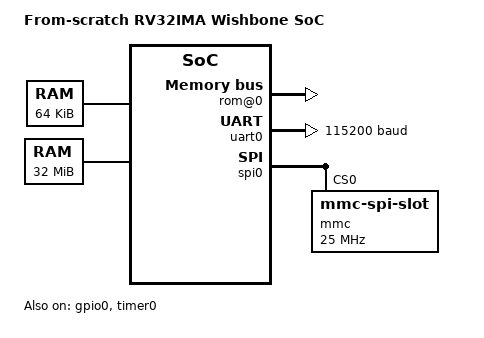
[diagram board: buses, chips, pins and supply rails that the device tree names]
/dts-v1/;

/*
 * Device tree for the SoC in rtl/soc/soc_top.v.
 *
 * Build it with `make dtb`, which compiles it and then round-trips the
 * result back to source to confirm it decodes.
 *
 * What this is and isn't: it is an accurate description of the hardware in
 * the standard format that RISC-V firmware (OpenSBI, U-Boot, Linux) expects
 * to be handed. It compiles to dts/soc.dtb, which software/opensbi/mkimage.py
 * packs into every image `make sim_opensbi`/`sim_linux` boot and OpenSBI
 * genuinely parses at runtime - this stopped being aspirational once that
 * integration landed (docs/roadmap.md's OpenSBI phase). The boot ROM and
 * software/soc/main.c's own RAM program still have the memory map compiled
 * in via software/soc/soc.h instead of reading this, since both predate the
 * device tree and have no reason to add a parser for one.
 *
 * Anything here that would need to change before real supervisor software
 * could use it is called out in a comment rather than quietly fudged.
 *
 * Frequencies are 25 MHz, which is what the ULX3S build actually runs at
 * (soc_top.v's CLK_HZ, and fpga/README.md's measured Fmax of 25.37 MHz gives
 * it 1.5% of margin). They used to say 50 MHz, which was a placeholder from
 * before the design had ever been on a board.
 *
 * `timebase-frequency` must match what the CLINT's mtime actually counts at,
 * and in this design mtime increments once per *system clock* (rtl/clint.v, a
 * documented simplification versus a real separate always-on reference
 * clock), so the two are the same number here.
 *
 * The UART's `clock-frequency` is the input to its baud divisor, and 25 MHz
 * does not divide evenly to 115200: a driver computing 25e6/(16*115200) gets
 * 13.56 and will write 14, for 111607 baud - 3.1% slow. That is inside the
 * roughly 5% a UART frame tolerates, but it is a real error rather than zero,
 * and it is the kind of thing that shows up as occasional framing errors on a
 * long cable rather than as an obvious failure.
 */

/ {
    #address-cells = <1>;
    #size-cells = <1>;
    compatible = "riscv-fpga-cpu,soc";
    model = "From-scratch RV32IMA Wishbone SoC";

    chosen {
        /* stdout-path is honored by U-Boot/OpenSBI-style firmware to pick a
         * console; bootargs is what Linux reads as its command line.
         *
         * `earlycon=sbi` prints through OpenSBI's own console driver from
         * the first line of the kernel until the 8250 driver probes, which
         * covers the window this SoC is worst at: no output at all, and no
         * way to tell a kernel that died early from one that never started.
         * It costs nothing - OpenSBI's console is already up by then.
         *
         * Both consoles end up driving the same ns16550. Linux reprograms
         * the divisor when it takes over, and computes it the same way
         * OpenSBI does - (clock + 8*baud) / (16*baud), rounding rather than
         * truncating - so 25 MHz and 115200 give 14 in both cases and the
         * line does not change speed at the handover. A driver that
         * truncated would give 13 and everything after the handover would
         * be garbage rather than silence.
         */
        stdout-path = "serial0:115200n8";
        bootargs = "console=ttyS0,115200 earlycon=sbi";
    };

    aliases {
        serial0 = &uart0;
    };

    cpus {
        #address-cells = <1>;
        #size-cells = <0>;
        /* Must match what rtl/clint.v's mtime actually counts at, which is
         * once per system clock - 25 MHz, the same number as the CPU's
         * clock-frequency below.
         *
         * This said 50000000 until OpenSBI printed
         * "aclint-mtimer @ 50000000Hz" and made it obvious. Everything an SBI
         * implementation does with time is derived from here, so a factor of
         * two wrong is a factor of two wrong in every timer a kernel sets -
         * and it shows up as a system that runs at half speed rather than as
         * an error. */
        timebase-frequency = <25000000>;

        cpu0: cpu@0 {
            device_type = "cpu";
            reg = <0>;
            compatible = "riscv";
            /* M and A are implemented in hardware even though software/ is
             * compiled as rv32im - see software/soc/main.c's note on the
             * missing rv32ima multilib. */
            riscv,isa = "rv32ima_zicsr_zifencei";
            riscv,isa-base = "rv32i";
            riscv,isa-extensions = "i", "m", "a", "zicsr", "zifencei";
            mmu-type = "riscv,sv32";
            clock-frequency = <25000000>;
            status = "okay";

            cpu0_intc: interrupt-controller {
                #interrupt-cells = <1>;
                compatible = "riscv,cpu-intc";
                interrupt-controller;
            };
        };

        /* Phase 13, Stage 10: a second hart, matching rtl/soc/soc_top.v's
         * own NUM_HARTS=2 (simulation only - every real board build still
         * pins NUM_HARTS=1, so this node describes hardware that exists
         * under `make sim_opensbi`/`sim_linux` and nowhere else yet). `reg`
         * is the hart ID clint0/plic0's own interrupts-extended lists below
         * index by position, and rtl/cpu_core.v's own HARTID parameter -
         * all three must agree, the same "nothing checks these match"
         * caution every other duplicated constant in this file already
         * carries. docs/roadmap.md's Phase 13 entry has the full account. */
        cpu1: cpu@1 {
            device_type = "cpu";
            reg = <1>;
            compatible = "riscv";
            riscv,isa = "rv32ima_zicsr_zifencei";
            riscv,isa-base = "rv32i";
            riscv,isa-extensions = "i", "m", "a", "zicsr", "zifencei";
            mmu-type = "riscv,sv32";
            clock-frequency = <25000000>;
            status = "okay";

            cpu1_intc: interrupt-controller {
                #interrupt-cells = <1>;
                compatible = "riscv,cpu-intc";
                interrupt-controller;
            };
        };
    };

    memory@80000000 {
        device_type = "memory";
        /* 64 KB, which is what a board actually has: fpga/ulx3s_top.v passes
         * RAM_BYTES(65536), and software/soc/soc.h's RAM_SIZE says the same.
         *
         * This declared 0x40000 - the 256 KB simulation figure - and was
         * wrong on every board that has ever run this tree. It survived
         * because `arch/riscv` sets phys_ram_base to the kernel's own load
         * address and drops every range below it, so Linux prints
         *
         *     OF: fdt: Ignoring memory block 0x80000000 - 0x80040000
         *
         * and never touches the node. A lie nothing acts on is still a lie,
         * and the next consumer of this file may not be a kernel that
         * discards it - a bare-metal program handed this tree would size its
         * heap from a number four times too big.
         *
         * Kept as a separate node from the SDRAM below rather than merged,
         * because they are separate slaves at separate bases with very
         * different latency, and nothing in this system relocates either.
         *
         * Duplicated in fpga/ulx3s_top.v (RAM_BYTES) and software/soc/soc.h
         * (RAM_SIZE), and nothing checks that the three agree -
         * docs/practices.md section 11. Safe direction of error is *small*:
         * under-declaring wastes memory, over-declaring hands software
         * addresses that read back as garbage. */
        reg = <0x80000000 0x00010000>;
    };

    memory@90000000 {
        device_type = "memory";
        /* The external SDR SDRAM: the whole 32 MB part. This node did not
         * exist while the interconnect decoded addr[31:24] by equality, which
         * capped the slave at 16 MB; the per-slave mask in soc_top.v's
         * `s_mask` is what makes the second half addressable.
         *
         * This size is duplicated in software/soc/soc.h (SDRAM_SIZE), in
         * soc_top.v's s_base/s_mask pair, and in the ORIGIN of
         * software/soc/link_sdram.ld. Nothing checks that the four agree -
         * docs/practices.md section 11. Safe direction of error is *small*:
         * under-declaring wastes memory, while over-declaring hands a kernel
         * addresses that decode to no slave and read back as zeros. */
        reg = <0x90000000 0x02000000>;
    };

    soc {
        #address-cells = <1>;
        #size-cells = <1>;
        compatible = "simple-bus";
        ranges;

        rom@0 {
            compatible = "mtd-rom";
            reg = <0x00000000 0x00004000>;
            read-only;
        };

        clint0: clint@2000000 {
            compatible = "riscv,clint0";
            reg = <0x02000000 0x00010000>;
            /* 3 = machine software interrupt, 7 = machine timer interrupt,
             * one pair per hart, in hart order - the standard aclint-mswi/
             * aclint-mtimer convention, and rtl/clint.v's own
             * NUM_HARTS-indexed msip_out/mtip vectors (Phase 13 stage 2)
             * already match it: hart h's msip is bit h, hart h's mtip is
             * bit h, independently of each other. */
            interrupts-extended = <&cpu0_intc 3 &cpu0_intc 7
                                    &cpu1_intc 3 &cpu1_intc 7>;
        };

        plic0: plic@3000000 {
            compatible = "riscv,plic0";
            /* 4 MB, not 64 KB: the standard register map puts context c's
             * threshold and claim at 0x200000 + 0x1000*c, so a window that
             * stopped at 64 KB would not contain the registers a driver
             * actually uses. rtl/plic.v implements that map; the
             * interconnect gives this slave 16 MB and this declares the part
             * of it that answers. */
            reg = <0x03000000 0x00400000>;
            /* Two contexts per hart, in the order rtl/plic.v numbers them:
             * context 2*h is hart h's M-mode (cause 11, MEI) and 2*h+1 is
             * its S-mode (cause 9, SEI) - matching rtl/soc/soc_top.v's own
             * plic_eip[2*h]/plic_eip[2*h+1] convention (Phase 13 stage 8).
             * The ordering is the interface - a driver derives the context
             * index from position in this list - and nothing checks it
             * against PLIC_CTX_M/PLIC_CTX_S in software/soc/soc.h. Getting
             * it backwards points every driver at the other privilege
             * level's threshold register and fails silently, by never
             * delivering. */
            interrupts-extended = <&cpu0_intc 11 &cpu0_intc 9
                                    &cpu1_intc 11 &cpu1_intc 9>;
            interrupt-controller;
            #interrupt-cells = <1>;
            riscv,ndev = <8>;
        };

        uart0: serial@4000000 {
            /* rtl/uart.v is an 8250-family part with the 16550 register map
             * and **no FIFOs**, so that is what this says: a 16450, which can
             * also be driven as a 16550 with the FIFO left alone. Both
             * entries are true, and the order is what makes the first one
             * count - Linux scores a match by its index in *this* list, so it
             * takes ns16450, and OpenSBI's uart8250 driver matches on ns16550
             * and keeps its console.
             *
             * This said "ns16550a" for one revision, and the single letter
             * cost a whole boot. The comment below used to end "a driver that
             * checks will stay in 16450 mode", and the flaw is in the
             * premise: nothing checks. drivers/tty/serial/8250/8250_of.c sets
             * UPF_FIXED_TYPE, so serial_core skips autoconfig() entirely and
             * the compatible string *is* the configuration - IIR is never
             * read. "ns16550a" means PORT_16550A means tx_loadsz = 16, and
             * serial8250_tx_chars() then writes sixteen bytes into a
             * one-byte holding register after a single THRE, with no status
             * check between them. Fifteen are discarded, in hardware, with
             * nothing to report them: rtl/uart.v's TX_IDLE arm takes a write
             * only when the transmitter is free.
             *
             * The output that produces is thinned rather than absent, so it
             * reads as a console decoding at the wrong rate - a fault in the
             * instrument - and the machine looks like it died where it in
             * fact carried on. `make sim_linux` runs with `+checkuart`, which
             * watches both ends of the wire and names the bytes.
             *
             * This node already carried the right instinct, about the string
             * *before* that one, when rtl/uart.v was three registers of this
             * project's own design: "naming a compatible string you do not
             * implement loads a driver that talks to the wrong registers - a
             * worse failure than having no driver." The registers were right
             * the second time. The buffer depth was not, and nothing in the
             * format distinguishes those two kinds of lie.
             *
             * reg-shift 2 puts register n at offset 4n, which is how this
             * word-addressed bus wants it and what rtl/uart.v decodes.
             *
             * `fifo-size` is absent and IIR reports bits 7:6 = 00, which is
             * how a part without FIFOs identifies itself to anything that
             * does ask.
             */
            compatible = "ns16450", "ns16550";
            reg = <0x04000000 0x00010000>;
            reg-shift = <2>;
            reg-io-width = <4>;
            interrupt-parent = <&plic0>;
            interrupts = <1>;
            clock-frequency = <25000000>;
            current-speed = <115200>;
            status = "okay";
        };

        gpio0: gpio@5000000 {
            compatible = "riscv-fpga-cpu,gpio0";
            reg = <0x05000000 0x00010000>;
            gpio-controller;
            #gpio-cells = <2>;
            ngpios = <16>;
            interrupt-controller;
            #interrupt-cells = <2>;
            interrupt-parent = <&plic0>;
            interrupts = <2>;
            status = "okay";
        };

        spi0: spi@6000000 {
            compatible = "riscv-fpga-cpu,spi0";
            reg = <0x06000000 0x00010000>;
            #address-cells = <1>;
            #size-cells = <0>;
            status = "okay";

            /* The card the boot ROM loads the program image from. */
            mmc@0 {
                compatible = "mmc-spi-slot";
                reg = <0>;
                spi-max-frequency = <25000000>;
                voltage-ranges = <3300 3300>;
            };
        };

        /* Framebuffer (rtl/soc/wb_framebuffer.v).
         *
         * 320x240, 8 bits per pixel, RRRGGGBB direct colour, pixel-doubled
         * to a 640x480 raster on scan-out. `simple-framebuffer` is the
         * generic binding for exactly this - a buffer somebody else has
         * already configured, which the OS only has to draw into.
         *
         * The `format` property has no standard code for RGB332, so this
         * declares the geometry and stride and leaves the format out rather
         * than claiming one that would be wrong. A driver reading this
         * should consult wb_framebuffer.v for the pixel encoding.
         *
         * `status` is "disabled" because this device tree describes the
         * SoC generically and cannot know, at authoring time, whether a
         * given build actually routed the pixel stream to real pins - that
         * is opt-in (`WITH_VIDEO`, `fpga/ulx3s_top.v`) since it costs this
         * board's own timing margin (docs/roadmap.md's Phase 4 entry), not
         * the default. The encoder, PLL and TMDS serializer all exist and
         * are gated in `make verify`; only a real monitor hasn't confirmed
         * it yet. The buffer itself is readable and writable regardless.
         */
        framebuffer0: framebuffer@7000000 {
            compatible = "simple-framebuffer";
            reg = <0x07000000 0x00012C00>;   /* 320 * 240 bytes */
            width = <320>;
            height = <240>;
            stride = <320>;
            status = "disabled";
        };

        /* General-purpose timer / PWM (rtl/soc/wb_timer.v). One channel -
         * docs/roadmap.md's Phase 12 entry has the reasoning. No real
         * kernel driver binds "riscv-fpga-cpu,timer0", matching gpio0/
         * spi0's own custom compatible strings above - these nodes are
         * informational, not yet a live Linux capability.
         */
        timer0: timer@8000000 {
            compatible = "riscv-fpga-cpu,timer0";
            reg = <0x08000000 0x00010000>;
            interrupt-parent = <&plic0>;
            interrupts = <3>;
            status = "okay";
        };
    };
};
